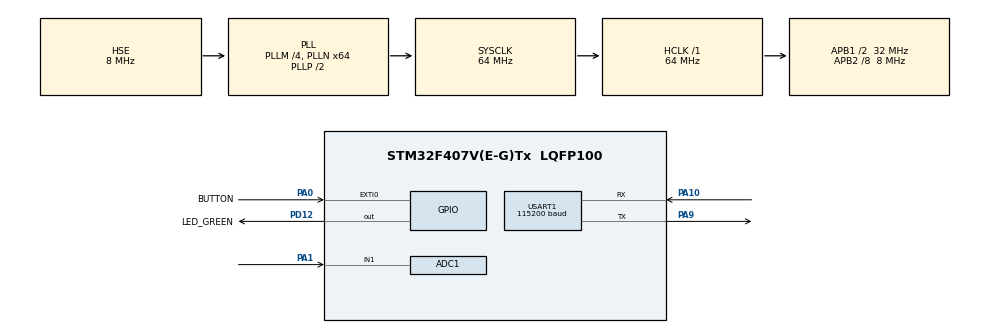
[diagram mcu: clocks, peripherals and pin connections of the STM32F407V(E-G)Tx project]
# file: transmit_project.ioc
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ADC1.Channel-0\#ChannelRegularConversion=ADC_CHANNEL_1
ADC1.NbrOfConversionFlag=1
ADC1.Rank-0\#ChannelRegularConversion=1
ADC1.SamplingTime-0\#ChannelRegularConversion=ADC_SAMPLETIME_3CYCLES
ADC1.master=1
Mcu.Family=STM32F4
Mcu.Name=STM32F407V(E-G)Tx
Mcu.Package=LQFP100
NVIC.EXTI0_IRQn=true\:0\:0\:false\:false\:true\:true\:true\:true
NVIC.PriorityGroup=NVIC_PRIORITYGROUP_0
PA0-WKUP.GPIO_Label=BUTTON
PA0-WKUP.Signal=GPXTI0
PA1.Signal=ADCx_IN1
PA10.Mode=Asynchronous
PA10.Signal=USART1_RX
PA9.Mode=Asynchronous
PA9.Signal=USART1_TX
PD12.GPIO_Label=LED_GREEN
PD12.Signal=GPIO_Output
PH0-OSC_IN.Mode=HSE-External-Oscillator
PH0-OSC_IN.Signal=RCC_OSC_IN
PH1-OSC_OUT.Mode=HSE-External-Oscillator
PH1-OSC_OUT.Signal=RCC_OSC_OUT
ProjectManager.HeapSize=0x200
ProjectManager.StackSize=0x400
ProjectManager.TargetToolchain=STM32CubeIDE
RCC.48MHZClocksFreq_Value=18285714.285714287
RCC.AHBFreq_Value=64000000
RCC.APB1CLKDivider=RCC_HCLK_DIV2
RCC.APB1Freq_Value=32000000
RCC.APB1TimFreq_Value=64000000
RCC.APB2CLKDivider=RCC_HCLK_DIV8
RCC.APB2Freq_Value=8000000
RCC.APB2TimFreq_Value=16000000
RCC.CortexFreq_Value=64000000
RCC.HCLKFreq_Value=64000000
RCC.HSE_VALUE=8000000
RCC.HSI_VALUE=16000000
RCC.LSE_VALUE=32768
RCC.PLLM=4
RCC.PLLN=64
RCC.PLLQ=7
RCC.PLLSourceVirtual=RCC_PLLSOURCE_HSE
RCC.SYSCLKFreq_VALUE=64000000
RCC.SYSCLKSource=RCC_SYSCLKSOURCE_PLLCLK
RCC.VCOOutputFreq_Value=128000000
SH.ADCx_IN1.0=ADC1_IN1,IN1
USART1.BaudRate=115200
USART1.VirtualMode=VM_ASYNC
board=STM32F407G-DISC1

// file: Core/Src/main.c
/* USER CODE BEGIN Header */
/**
  ******************************************************************************
  * @file           : main.c
  * @brief          : Main program body
  ******************************************************************************
  * @attention
  *
  * Copyright (c) 2024 STMicroelectronics.
  * All rights reserved.
  *
  * This software is licensed under terms that can be found in the LICENSE file
  * in the root directory of this software component.
  * If no LICENSE file comes with this software, it is provided AS-IS.
  *
  ******************************************************************************
  */
/* USER CODE END Header */
#include "main.h"

/* USER CODE BEGIN Includes */
#include <stdio.h>
/* USER CODE END Includes */

/* USER CODE BEGIN PD */
#define ADC_TIMEOUT 1
#define UART_TIMEOUT 1
#define MSG_TRANSMITED_SIZE 4
#define MSG_REICEIV_SIZE 13
/* USER CODE END PD */

ADC_HandleTypeDef hadc1;

UART_HandleTypeDef huart1;

/* USER CODE BEGIN PV */
uint16_t AdcValue = 0;
char StringToTransmited[MSG_TRANSMITED_SIZE];
char pDataReceived[MSG_REICEIV_SIZE];
uint8_t ButtonFlag = 0;
/* USER CODE END PV */

void SystemClock_Config(void);
static void MX_GPIO_Init(void);
static void MX_ADC1_Init(void);
static void MX_USART1_UART_Init(void);

int main(void)
{

  /* MCU Configuration--------------------------------------------------------*/

  /* Reset of all peripherals, Initializes the Flash interface and the Systick. */
  HAL_Init();

  /* Configure the system clock */
  SystemClock_Config();

  /* Initialize all configured peripherals */
  MX_GPIO_Init();
  MX_ADC1_Init();
  MX_USART1_UART_Init();

  /* Infinite loop */
  /* USER CODE BEGIN WHILE */
  while (1)
  {
	  HAL_GPIO_WritePin(LED_GREEN_GPIO_Port, LED_GREEN_Pin, RESET);
	  if( 1 == ButtonFlag)
	  {
		  HAL_GPIO_WritePin(LED_GREEN_GPIO_Port, LED_GREEN_Pin, SET);
		  HAL_ADC_Start(&hadc1);
		  HAL_ADC_PollForConversion(&hadc1, ADC_TIMEOUT);
		  HAL_ADC_Stop(&hadc1);
		  AdcValue = HAL_ADC_GetValue(&hadc1);
		  sprintf(StringToTransmited, "%d", AdcValue);
		  if (HAL_UART_Transmit(&huart1, (uint8_t *)StringToTransmited, MSG_TRANSMITED_SIZE, UART_TIMEOUT) !=HAL_OK)
		  {
			  Error_Handler();
		  }
		  ButtonFlag = 0;
	  }
	  if(HAL_UART_Receive(&huart1, (uint8_t *) pDataReceived, MSG_REICEIV_SIZE, UART_TIMEOUT) !=HAL_OK)
	  {
		  Error_Handler();
	  }
    /* USER CODE END WHILE */

  }
}

void SystemClock_Config(void)
{
  RCC_OscInitTypeDef RCC_OscInitStruct = {0};
  RCC_ClkInitTypeDef RCC_ClkInitStruct = {0};

  /** Configure the main internal regulator output voltage
  */
  __HAL_RCC_PWR_CLK_ENABLE();
  __HAL_PWR_VOLTAGESCALING_CONFIG(PWR_REGULATOR_VOLTAGE_SCALE1);

  /** Initializes the RCC Oscillators according to the specified parameters
  * in the RCC_OscInitTypeDef structure.
  */
  RCC_OscInitStruct.OscillatorType = RCC_OSCILLATORTYPE_HSE;
  RCC_OscInitStruct.HSEState = RCC_HSE_ON;
  RCC_OscInitStruct.PLL.PLLState = RCC_PLL_ON;
  RCC_OscInitStruct.PLL.PLLSource = RCC_PLLSOURCE_HSE;
  RCC_OscInitStruct.PLL.PLLM = 4;
  RCC_OscInitStruct.PLL.PLLN = 64;
  RCC_OscInitStruct.PLL.PLLP = RCC_PLLP_DIV2;
  RCC_OscInitStruct.PLL.PLLQ = 7;
  if (HAL_RCC_OscConfig(&RCC_OscInitStruct) != HAL_OK)
  {
    Error_Handler();
  }

  /** Initializes the CPU, AHB and APB buses clocks
  */
  RCC_ClkInitStruct.ClockType = RCC_CLOCKTYPE_HCLK|RCC_CLOCKTYPE_SYSCLK
                              |RCC_CLOCKTYPE_PCLK1|RCC_CLOCKTYPE_PCLK2;
  RCC_ClkInitStruct.SYSCLKSource = RCC_SYSCLKSOURCE_PLLCLK;
  RCC_ClkInitStruct.AHBCLKDivider = RCC_SYSCLK_DIV1;
  RCC_ClkInitStruct.APB1CLKDivider = RCC_HCLK_DIV2;
  RCC_ClkInitStruct.APB2CLKDivider = RCC_HCLK_DIV8;

  if (HAL_RCC_ClockConfig(&RCC_ClkInitStruct, FLASH_LATENCY_2) != HAL_OK)
  {
    Error_Handler();
  }
}

static void MX_ADC1_Init(void)
{

  ADC_ChannelConfTypeDef sConfig = {0};

  /** Configure the global features of the ADC (Clock, Resolution, Data Alignment and number of conversion)
  */
  hadc1.Instance = ADC1;
  hadc1.Init.ClockPrescaler = ADC_CLOCK_SYNC_PCLK_DIV2;
  hadc1.Init.Resolution = ADC_RESOLUTION_12B;
  hadc1.Init.ScanConvMode = DISABLE;
  hadc1.Init.ContinuousConvMode = DISABLE;
  hadc1.Init.DiscontinuousConvMode = DISABLE;
  hadc1.Init.ExternalTrigConvEdge = ADC_EXTERNALTRIGCONVEDGE_NONE;
  hadc1.Init.ExternalTrigConv = ADC_SOFTWARE_START;
  hadc1.Init.DataAlign = ADC_DATAALIGN_RIGHT;
  hadc1.Init.NbrOfConversion = 1;
  hadc1.Init.DMAContinuousRequests = DISABLE;
  hadc1.Init.EOCSelection = ADC_EOC_SINGLE_CONV;
  if (HAL_ADC_Init(&hadc1) != HAL_OK)
  {
    Error_Handler();
  }

  /** Configure for the selected ADC regular channel its corresponding rank in the sequencer and its sample time.
  */
  sConfig.Channel = ADC_CHANNEL_1;
  sConfig.Rank = 1;
  sConfig.SamplingTime = ADC_SAMPLETIME_3CYCLES;
  if (HAL_ADC_ConfigChannel(&hadc1, &sConfig) != HAL_OK)
  {
    Error_Handler();
  }

}

static void MX_USART1_UART_Init(void)
{

  huart1.Instance = USART1;
  huart1.Init.BaudRate = 115200;
  huart1.Init.WordLength = UART_WORDLENGTH_8B;
  huart1.Init.StopBits = UART_STOPBITS_1;
  huart1.Init.Parity = UART_PARITY_NONE;
  huart1.Init.Mode = UART_MODE_TX_RX;
  huart1.Init.HwFlowCtl = UART_HWCONTROL_NONE;
  huart1.Init.OverSampling = UART_OVERSAMPLING_16;
  if (HAL_UART_Init(&huart1) != HAL_OK)
  {
    Error_Handler();
  }

}

static void MX_GPIO_Init(void)
{
  GPIO_InitTypeDef GPIO_InitStruct = {0};

  /* GPIO Ports Clock Enable */
  __HAL_RCC_GPIOH_CLK_ENABLE();
  __HAL_RCC_GPIOA_CLK_ENABLE();
  __HAL_RCC_GPIOD_CLK_ENABLE();

  /*Configure GPIO pin Output Level */
  HAL_GPIO_WritePin(LED_GREEN_GPIO_Port, LED_GREEN_Pin, GPIO_PIN_RESET);

  /*Configure GPIO pin : BUTTON_Pin */
  GPIO_InitStruct.Pin = BUTTON_Pin;
  GPIO_InitStruct.Mode = GPIO_MODE_IT_RISING;
  GPIO_InitStruct.Pull = GPIO_NOPULL;
  HAL_GPIO_Init(BUTTON_GPIO_Port, &GPIO_InitStruct);

  /*Configure GPIO pin : LED_GREEN_Pin */
  GPIO_InitStruct.Pin = LED_GREEN_Pin;
  GPIO_InitStruct.Mode = GPIO_MODE_OUTPUT_PP;
  GPIO_InitStruct.Pull = GPIO_NOPULL;
  GPIO_InitStruct.Speed = GPIO_SPEED_FREQ_LOW;
  HAL_GPIO_Init(LED_GREEN_GPIO_Port, &GPIO_InitStruct);

  /* EXTI interrupt init*/
  HAL_NVIC_SetPriority(EXTI0_IRQn, 0, 0);
  HAL_NVIC_EnableIRQ(EXTI0_IRQn);

}

/* USER CODE BEGIN 4 */
void HAL_GPIO_EXTI_Callback(uint16_t GPIO_Pin)
{
	ButtonFlag = 1;
}
/* USER CODE END 4 */

void Error_Handler(void)
{
  __disable_irq();
  while (1)
  {
  }
}
